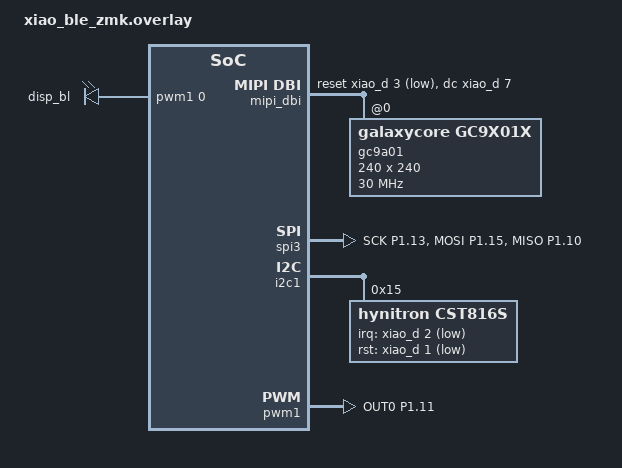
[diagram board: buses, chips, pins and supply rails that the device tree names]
/*
 * Asurada dongle board overlay for Seeed XIAO nRF52840 (xiao_ble//zmk).
 *
 * Hardware:
 *   - Display: Waveshare 1.28" round LCD, GC9A01 driver, 240x240, SPI (MIPI-DBI).
 *   - Touch:   CST816S capacitive touch controller, I2C @ 0x15.
 *   - No ambient light sensor (removed vs. Prospector).
 *
 * XIAO pin map (silkscreen Dn):
 *   Display  : SCK=D8(P1.13)  MOSI=D10(P1.15)  CS=D9  DC=D7  RST=D3  BL=D6(PWM, P1.11)
 *   Touch I2C: SDA=D4(P0.04)  SCL=D5(P0.05)    TP_INT=D2  TP_RST=D1
 */

#include <zephyr/dt-bindings/display/panel.h>

/ {
   pwmleds {
      compatible = "pwm-leds";
      disp_bl: pwm_led_1 {
          pwms = <&pwm1 0 PWM_MSEC(1) PWM_POLARITY_NORMAL>;
      };
  };
};

&spi2 {
   status = "disabled";
};

&pinctrl {
   spi3_default: spi3_default {
		group1 {
			psels = <NRF_PSEL(SPIM_SCK, 1, 13)>,
				<NRF_PSEL(SPIM_MOSI, 1, 15)>,
				<NRF_PSEL(SPIM_MISO, 1, 10)>;
		};
	};

	spi3_sleep: spi3_sleep {
		group1 {
			psels = <NRF_PSEL(SPIM_SCK, 1, 13)>,
				<NRF_PSEL(SPIM_MOSI, 1, 15)>,
				<NRF_PSEL(SPIM_MISO, 1, 10)>;
			low-power-enable;
		};
	};

   pwm1_default: pwm1_default {
      group1 {
         psels = <NRF_PSEL(PWM_OUT0, 1, 11)>;
         nordic,invert;
      };
   };

   pwm1_sleep: pwm1_sleep {
      group1 {
         psels = <NRF_PSEL(PWM_OUT0, 1, 11)>;
         low-power-enable;
      };
   };
};

disp_spi: &spi3 {
   status = "okay";
   pinctrl-0 = <&spi3_default>;
	pinctrl-1 = <&spi3_sleep>;
	pinctrl-names = "default", "sleep";
   cs-gpios = <&xiao_d 9 GPIO_ACTIVE_LOW>;
};

/ {
   mipi_dbi {
       compatible = "zephyr,mipi-dbi-spi";
       spi-dev = <&spi3>;
       dc-gpios = <&xiao_d 7 GPIO_ACTIVE_HIGH>;
       reset-gpios = <&xiao_d 3 GPIO_ACTIVE_LOW>;
       write-only;
       #address-cells = <1>;
       #size-cells = <0>;

       /* Waveshare 1.28" round LCD, GC9A01 (GC9x01x family), 240x240 RGB565.
        * display-inversion is required on GC9A01A panels (colors invert otherwise). */
       gc9a01: gc9a01@0 {
           compatible = "galaxycore,gc9x01x";
           mipi-max-frequency = <30000000>;
           mipi-mode = "MIPI_DBI_MODE_SPI_4WIRE";
           reg = <0>;
           width = <240>;
           height = <240>;
           pixel-format = <PANEL_PIXEL_FORMAT_RGB_565>;
           display-inversion;
       };
   };
};

/* CST816S capacitive touch on the shared I2C bus (D4/D5).
 * Replaces Prospector's APDS9960 ambient light sensor. */
&i2c1 {
   status = "okay";

   cst816s: cst816s@15 {
       compatible = "hynitron,cst816s";
       reg = <0x15>;
       irq-gpios = <&xiao_d 2 (GPIO_ACTIVE_LOW | GPIO_PULL_UP)>;
       rst-gpios = <&xiao_d 1 GPIO_ACTIVE_LOW>;
   };
};

&pwm1 {
  status = "okay";
  pinctrl-0 = <&pwm1_default>;
  pinctrl-1 = <&pwm1_sleep>;
  pinctrl-names = "default", "sleep";
};
